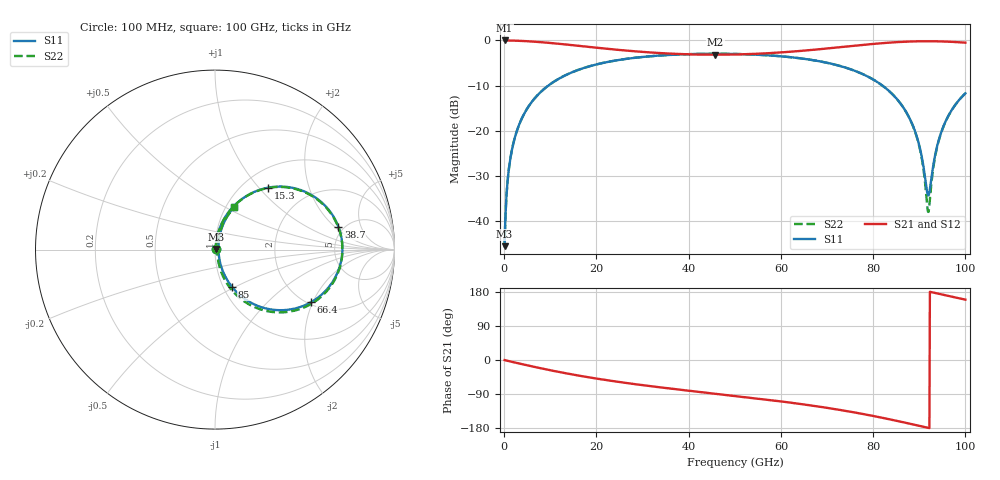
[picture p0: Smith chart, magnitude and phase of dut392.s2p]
! Touchstone file exported from HFSS 2026.1.0
!  File:  C:/ffzhzh/LocalFiles/Ansys_Project_Files/temp_train_RDL_392_1783503909_9504.aedt
!  Generated:  05:46:36 PM Jul  8, 2026
!  Design:  RDL
!  Project:  temp_train_RDL_392_1783503909_9504
! Variables:
!  h_bsmrdl = 2um
!  h_ox = 20um
!  h_rdl = 5um
!  h_sub = 80um
!  h_tmrdl = 4.65um
!  h_tsv = 80um
!  h_via = 3um
!  l_bsmrdl = 300um
!  l_sub = 1051.63um
!  l_tmrdl = 651.63um
!  m_sub = 200um
!  pitch = 58.81um
!  r_tsv = 6um
!  s_tmrdl = 10um
!  w_bsmrdl = 18um
!  w_sub = 500um
!  w_tmrdl = 13.58um
!  x_tsv_center1 = 658.42um
!  x_tsv_center2 = 976.42um
!  x_tsv_center3 = 1641.63um
!  x_tsv_center4 = 1959.63um
!  x_tsv_center5 = 2624.84um
!  x_tsv_center6 = 2942.84um
# GHz S MA R 50.000000
! Terminal data exported
! Port[1] = TM_RDL1_1_T1
! Port[2] = TM_RDL1_1_T2
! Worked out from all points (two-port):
!   1000 points, 100 MHz to 100 GHz, reference 50 ohm
!   highest |S21| = -0.03 dB at 100 MHz (marker M1); lowest = -3.2 dB at 45.8 GHz (marker M2)
!   |S21| within 3 dB of the highest: start of sweep to 38.08 GHz; 53.44 GHz to end of sweep
!   lowest |S11| = -45.5 dB at 100 MHz (marker M3), VSWR 1.01, Z = 50.4 + j0.378 ohm
!   |S11| at or under -10 dB: start of sweep to 9.597 GHz; 81.99 GHz to end of sweep
!   |S22| runs from -45.5 to -3.0 dB; largest |S21 - S12| = 1.8e-14
!   S11 on the Smith chart (normalised r, x): 100 MHz: 1.01, +0.01; 15.3 GHz: 1.29, +1.12; 38.7 GHz: 4.49, +2.24; 66.4 GHz: 2.08, -1.94; 85 GHz: 1.10, -0.48; 100 GHz: 1.09, +0.55
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0.1  0.005283 45.3  0.9963 -0.3  0.9963 -0.3  0.005283 45.3
! Gamma 0 0 0 0
! Port Impedance 50 0 50 0
0.8  0.02964 79.5  0.9953 -2.3  0.9953 -2.3  0.02965 79.5
1.4  0.05116 80.9  0.9942 -4.0  0.9942 -4.0  0.05117 80.9
3.7  0.1321 76.9  0.9851 -10.5  0.9851 -10.5  0.1322 76.8
8.2  0.2762 65.6  0.9516 -22.5  0.9516 -22.5  0.2762 65.4
15.3  0.4552 49.4  0.8785 -39.3  0.8785 -39.3  0.4552 49.0
16.8  0.4852 46.2  0.8623 -42.5  0.8623 -42.5  0.4853 45.9
33.4  0.6768 17.9  0.7245 -71.5  0.7245 -71.5  0.6768 17.2
38.7  0.6994 10.5  0.7034 -79.2  0.7034 -79.2  0.6995 9.7
45.8  0.71 1.0  0.6933 -89.0  0.6933 -89.0  0.71 -0.0
50.1  0.7063 -4.8  0.6972 -94.9  0.6972 -94.9  0.7063 -5.9
66.4  0.6097 -28.8  0.7799 -119.7  0.7799 -119.7  0.6097 -30.4
66.7  0.6064 -29.3  0.7824 -120.3  0.7824 -120.3  0.6063 -30.9
76.5  0.45 -47.6  0.8768 -139.6  0.8768 -139.6  0.4499 -49.7
83.4  0.2764 -62.2  0.9418 -156.1  0.9418 -156.1  0.2761 -65.1
85  0.2288 -65.4  0.9535 -160.2  0.9535 -160.2  0.2284 -68.6
89.4  0.08827 -69.3  0.9743 -172.0  0.9743 -172.0  0.08709 -75.2
90.5  0.05279 -63.5  0.9764 -175.1  0.9764 -175.1  0.05075 -72.2
92  0.01922 5.8  0.9771 -179.2  0.9771 -179.2  0.01263 6.7
93.5  0.05562 66.9  0.9753 176.7  0.9753 176.7  0.05376 71.8
94.8  0.09753 72.3  0.9718 173.1  0.9718 173.1  0.09653 74.3
100  0.2594 65.9  0.9416 159.4  0.9416 159.4  0.2591 65.3
